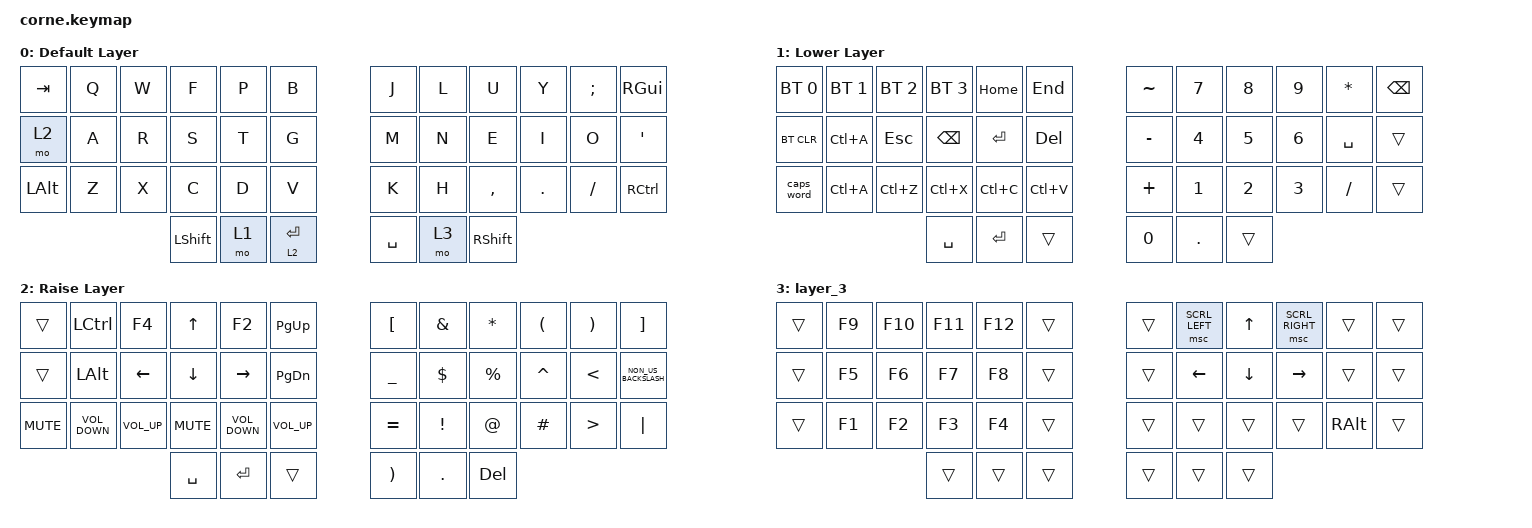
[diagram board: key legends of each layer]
/*
 * Copyright (c) 2020 The ZMK Contributors
 *
 * SPDX-License-Identifier: MIT
 */

#include <behaviors.dtsi>
#include <dt-bindings/zmk/bt.h>
#include <dt-bindings/zmk/keys.h>
#include <dt-bindings/zmk/pointing.h>

/ {
    keymap {
        compatible = "zmk,keymap";

        default_layer {
            display-name = "Default Layer";

            // -----------------------------------------------------------------------------------------
            // |  TAB |  Q  |  W  |  E  |  R  |  T  |   |  Y  |  U   |  I  |  O  |  P  | BSPC |
            // | CTRL |  A  |  S  |  D  |  F  |  G  |   |  H  |  J   |  K  |  L  |  ;  |  '   |
            // | SHFT |  Z  |  X  |  C  |  V  |  B  |   |  N  |  M   |  ,  |  .  |  /  | ESC  |
            //                    | GUI | LWR | SPC |   | ENT | RSE  | ALT |

            bindings = <
&kp TAB       &kp Q  &kp W  &kp F           &kp P  &kp B          &kp J      &kp L  &kp U            &kp Y    &kp SEMICOLON  &kp RGUI
&mo 2         &kp A  &kp R  &kp S           &kp T  &kp G          &kp M      &kp N  &kp E            &kp I    &kp O          &kp SQT
&kp LEFT_ALT  &kp Z  &kp X  &kp C           &kp D  &kp V          &kp K      &kp H  &kp COMMA        &kp DOT  &kp FSLH       &kp RCTRL
                            &kp LEFT_SHIFT  &mo 1  &lt 2 ENTER    &kp SPACE  &mo 3  &kp RIGHT_SHIFT
            >;
        };

        lower_layer {
            display-name = "Lower Layer";

            // -----------------------------------------------------------------------------------------
            // |  TAB |  1  |  2  |  3  |  4  |  5  |   |  6  |  7  |  8  |  9  |  0  | BSPC |
            // | BTCLR| BT1 | BT2 | BT3 | BT4 | BT5 |   | LFT | DWN |  UP | RGT |     |      |
            // | SHFT |     |     |     |     |     |   |     |     |     |     |     |      |
            //                    | GUI |     | SPC |   | ENT |     | ALT |

            bindings = <
&bt BT_SEL 0  &bt BT_SEL 1  &bt BT_SEL 2  &bt BT_SEL 3   &kp HOME   &kp END      &kp TILDE  &kp N7        &kp N8        &kp N9        &kp ASTERISK  &kp BSPC
&bt BT_CLR    &kp LC(A)     &kp ESC       &kp BACKSPACE  &kp ENTER  &kp DEL      &kp MINUS  &kp NUMBER_4  &kp N5        &kp NUMBER_6  &kp SPACE     &trans
&caps_word    &kp LC(A)     &kp LC(Z)     &kp LC(X)      &kp LC(C)  &kp LC(V)    &kp PLUS   &kp NUMBER_1  &kp NUMBER_2  &kp NUMBER_3  &kp SLASH     &trans
                                          &kp SPACE      &kp ENTER  &trans       &kp N0     &kp PERIOD    &trans
            >;
        };

        raise_layer {
            display-name = "Raise Layer";

            // -----------------------------------------------------------------------------------------
            // |  TAB |  !  |  @  |  #  |  $  |  %  |   |  ^  |  &  |  *  |  (  |  )  | BSPC |
            // | CTRL |     |     |     |     |     |   |  -  |  =  |  [  |  ]  |  \  |  `   |
            // | SHFT |     |     |     |     |     |   |  _  |  +  |  {  |  }  | "|" |  ~   |
            //                    | GUI |     | SPC |   | ENT |     | ALT |

            bindings = <
&trans      &kp LCTRL          &kp F4           &kp UP_ARROW    &kp F2             &kp PAGE_UP        &kp LEFT_BRACKET       &kp AMPS         &kp ASTRK    &kp LPAR   &kp RPAR          &kp RIGHT_BRACKET
&trans      &kp LEFT_ALT       &kp LEFT_ARROW   &kp DOWN_ARROW  &kp RIGHT          &kp PAGE_DOWN      &kp UNDERSCORE         &kp DOLLAR       &kp PERCENT  &kp CARET  &kp LESS_THAN     &kp NON_US_BACKSLASH
&kp C_MUTE  &kp C_VOLUME_DOWN  &kp C_VOLUME_UP  &kp C_MUTE      &kp C_VOLUME_DOWN  &kp C_VOLUME_UP    &kp EQUAL              &kp EXCLAMATION  &kp AT_SIGN  &kp HASH   &kp GREATER_THAN  &kp PIPE
                                                &kp SPACE       &kp ENTER          &trans             &kp RIGHT_PARENTHESIS  &kp PERIOD       &kp DELETE
            >;
        };

        layer_3 {
            bindings = <
&trans  &kp F9  &kp F10  &kp F11  &kp F12  &trans    &trans  &msc SCRL_LEFT  &kp UP_ARROW  &msc SCRL_RIGHT  &trans         &trans
&trans  &kp F5  &kp F6   &kp F7   &kp F8   &trans    &trans  &kp LEFT        &kp DOWN      &kp RIGHT        &trans         &trans
&trans  &kp F1  &kp F2   &kp F3   &kp F4   &trans    &trans  &trans          &trans        &trans           &kp RIGHT_ALT  &trans
                         &trans   &trans   &trans    &trans  &trans          &trans
            >;
        };
    };
};
